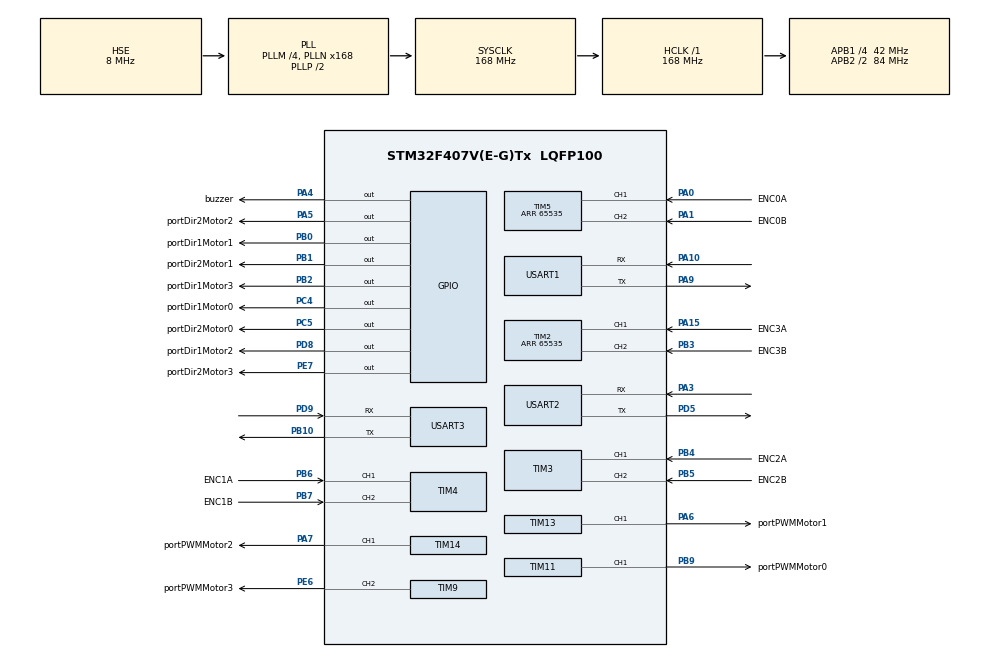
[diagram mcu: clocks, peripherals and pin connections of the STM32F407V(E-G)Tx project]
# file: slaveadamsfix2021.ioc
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Dma.Request0=USART1_RX
Dma.Request1=USART1_TX
Dma.Request2=USART2_RX
Dma.Request3=USART2_TX
Dma.Request4=USART3_RX
Dma.Request5=USART3_TX
Dma.USART1_RX.0.Direction=DMA_PERIPH_TO_MEMORY
Dma.USART1_RX.0.FIFOMode=DMA_FIFOMODE_DISABLE
Dma.USART1_RX.0.Instance=DMA2_Stream2
Dma.USART1_RX.0.MemDataAlignment=DMA_MDATAALIGN_BYTE
Dma.USART1_RX.0.MemInc=DMA_MINC_ENABLE
Dma.USART1_RX.0.Mode=DMA_CIRCULAR
Dma.USART1_RX.0.PeriphDataAlignment=DMA_PDATAALIGN_BYTE
Dma.USART1_RX.0.PeriphInc=DMA_PINC_DISABLE
Dma.USART1_RX.0.Priority=DMA_PRIORITY_LOW
Dma.USART1_TX.1.Direction=DMA_MEMORY_TO_PERIPH
Dma.USART1_TX.1.FIFOMode=DMA_FIFOMODE_DISABLE
Dma.USART1_TX.1.Instance=DMA2_Stream7
Dma.USART1_TX.1.MemDataAlignment=DMA_MDATAALIGN_BYTE
Dma.USART1_TX.1.MemInc=DMA_MINC_ENABLE
Dma.USART1_TX.1.Mode=DMA_CIRCULAR
Dma.USART1_TX.1.PeriphDataAlignment=DMA_PDATAALIGN_BYTE
Dma.USART1_TX.1.PeriphInc=DMA_PINC_DISABLE
Dma.USART1_TX.1.Priority=DMA_PRIORITY_LOW
Dma.USART2_RX.2.Direction=DMA_PERIPH_TO_MEMORY
Dma.USART2_RX.2.FIFOMode=DMA_FIFOMODE_DISABLE
Dma.USART2_RX.2.Instance=DMA1_Stream5
Dma.USART2_RX.2.MemDataAlignment=DMA_MDATAALIGN_BYTE
Dma.USART2_RX.2.MemInc=DMA_MINC_ENABLE
Dma.USART2_RX.2.Mode=DMA_NORMAL
Dma.USART2_RX.2.PeriphDataAlignment=DMA_PDATAALIGN_BYTE
Dma.USART2_RX.2.PeriphInc=DMA_PINC_DISABLE
Dma.USART2_RX.2.Priority=DMA_PRIORITY_LOW
Dma.USART2_TX.3.Direction=DMA_MEMORY_TO_PERIPH
Dma.USART2_TX.3.FIFOMode=DMA_FIFOMODE_DISABLE
Dma.USART2_TX.3.Instance=DMA1_Stream6
Dma.USART2_TX.3.MemDataAlignment=DMA_MDATAALIGN_BYTE
Dma.USART2_TX.3.MemInc=DMA_MINC_ENABLE
Dma.USART2_TX.3.Mode=DMA_NORMAL
Dma.USART2_TX.3.PeriphDataAlignment=DMA_PDATAALIGN_BYTE
Dma.USART2_TX.3.PeriphInc=DMA_PINC_DISABLE
Dma.USART2_TX.3.Priority=DMA_PRIORITY_LOW
Dma.USART3_RX.4.Direction=DMA_PERIPH_TO_MEMORY
Dma.USART3_RX.4.FIFOMode=DMA_FIFOMODE_DISABLE
Dma.USART3_RX.4.Instance=DMA1_Stream1
Dma.USART3_RX.4.MemDataAlignment=DMA_MDATAALIGN_BYTE
Dma.USART3_RX.4.MemInc=DMA_MINC_ENABLE
Dma.USART3_RX.4.Mode=DMA_CIRCULAR
Dma.USART3_RX.4.PeriphDataAlignment=DMA_PDATAALIGN_BYTE
Dma.USART3_RX.4.PeriphInc=DMA_PINC_DISABLE
Dma.USART3_RX.4.Priority=DMA_PRIORITY_LOW
Dma.USART3_TX.5.Direction=DMA_MEMORY_TO_PERIPH
Dma.USART3_TX.5.FIFOMode=DMA_FIFOMODE_DISABLE
Dma.USART3_TX.5.Instance=DMA1_Stream3
Dma.USART3_TX.5.MemDataAlignment=DMA_MDATAALIGN_BYTE
Dma.USART3_TX.5.MemInc=DMA_MINC_ENABLE
Dma.USART3_TX.5.Mode=DMA_CIRCULAR
Dma.USART3_TX.5.PeriphDataAlignment=DMA_PDATAALIGN_BYTE
Dma.USART3_TX.5.PeriphInc=DMA_PINC_DISABLE
Dma.USART3_TX.5.Priority=DMA_PRIORITY_LOW
Mcu.Family=STM32F4
Mcu.Name=STM32F407V(E-G)Tx
Mcu.Package=LQFP100
NVIC.DMA1_Stream1_IRQn=true\:0\:0\:false\:false\:true\:false\:true
NVIC.DMA1_Stream3_IRQn=true\:0\:0\:false\:false\:true\:false\:true
NVIC.DMA1_Stream5_IRQn=true\:0\:0\:false\:false\:true\:false\:true
NVIC.DMA1_Stream6_IRQn=true\:0\:0\:false\:false\:true\:false\:true
NVIC.DMA2_Stream2_IRQn=true\:0\:0\:false\:false\:true\:false\:true
NVIC.DMA2_Stream7_IRQn=true\:0\:0\:false\:false\:true\:false\:true
NVIC.PriorityGroup=NVIC_PRIORITYGROUP_4
NVIC.TIM6_DAC_IRQn=true\:0\:0\:false\:false\:true\:true\:true
NVIC.TIM7_IRQn=true\:0\:0\:false\:false\:true\:true\:true
NVIC.USART1_IRQn=true\:0\:0\:false\:false\:true\:true\:true
NVIC.USART3_IRQn=true\:0\:0\:false\:false\:true\:true\:true
PA0-WKUP.GPIO_Label=ENC0A
PA0-WKUP.GPIO_PuPd=GPIO_PULLUP
PA0-WKUP.GPIO_Speed=GPIO_SPEED_FREQ_VERY_HIGH
PA0-WKUP.Signal=S_TIM5_CH1
PA1.GPIO_Label=ENC0B
PA1.GPIO_PuPd=GPIO_PULLUP
PA1.GPIO_Speed=GPIO_SPEED_FREQ_VERY_HIGH
PA1.Signal=S_TIM5_CH2
PA10.Mode=Asynchronous
PA10.Signal=USART1_RX
PA15.GPIO_Label=ENC3A
PA15.GPIO_PuPd=GPIO_PULLUP
PA15.GPIO_Speed=GPIO_SPEED_FREQ_VERY_HIGH
PA15.Signal=S_TIM2_CH1_ETR
PA3.Mode=Asynchronous
PA3.Signal=USART2_RX
PA4.GPIO_Label=buzzer
PA4.Signal=GPIO_Output
PA5.GPIO_Label=portDir2Motor2
PA5.Signal=GPIO_Output
PA6.GPIO_Label=portPWMMotor1
PA6.Signal=S_TIM13_CH1
PA7.GPIO_Label=portPWMMotor2
PA7.Signal=S_TIM14_CH1
PA9.Mode=Asynchronous
PA9.Signal=USART1_TX
PB0.GPIO_Label=portDir1Motor1
PB0.Signal=GPIO_Output
PB1.GPIO_Label=portDir2Motor1
PB1.Signal=GPIO_Output
PB10.Mode=Asynchronous
PB10.Signal=USART3_TX
PB2.GPIO_Label=portDir1Motor3
PB2.Signal=GPIO_Output
PB3.GPIO_Label=ENC3B
PB3.GPIO_PuPd=GPIO_PULLUP
PB3.GPIO_Speed=GPIO_SPEED_FREQ_VERY_HIGH
PB3.Signal=S_TIM2_CH2
PB4.GPIO_Label=ENC2A
PB4.GPIO_PuPd=GPIO_PULLUP
PB4.GPIO_Speed=GPIO_SPEED_FREQ_VERY_HIGH
PB4.Signal=S_TIM3_CH1
PB5.GPIO_Label=ENC2B
PB5.GPIO_PuPd=GPIO_PULLUP
PB5.GPIO_Speed=GPIO_SPEED_FREQ_VERY_HIGH
PB5.Signal=S_TIM3_CH2
PB6.GPIO_Label=ENC1A
PB6.GPIO_PuPd=GPIO_PULLUP
PB6.GPIO_Speed=GPIO_SPEED_FREQ_VERY_HIGH
PB6.Signal=S_TIM4_CH1
PB7.GPIO_Label=ENC1B
PB7.GPIO_PuPd=GPIO_PULLUP
PB7.GPIO_Speed=GPIO_SPEED_FREQ_VERY_HIGH
PB7.Signal=S_TIM4_CH2
PB9.GPIO_Label=portPWMMotor0
PB9.Signal=S_TIM11_CH1
PC4.GPIO_Label=portDir1Motor0
PC4.Signal=GPIO_Output
PC5.GPIO_Label=portDir2Motor0
PC5.Signal=GPIO_Output
PD5.Mode=Asynchronous
PD5.Signal=USART2_TX
PD8.GPIO_Label=portDir1Motor2
PD8.Signal=GPIO_Output
PD9.Mode=Asynchronous
PD9.Signal=USART3_RX
PE6.GPIO_Label=portPWMMotor3
PE6.Signal=S_TIM9_CH2
PE7.GPIO_Label=portDir2Motor3
PE7.Signal=GPIO_Output
PH0-OSC_IN.Mode=HSE-External-Oscillator
PH0-OSC_IN.Signal=RCC_OSC_IN
PH1-OSC_OUT.Mode=HSE-External-Oscillator
PH1-OSC_OUT.Signal=RCC_OSC_OUT
ProjectManager.HeapSize=0x200
ProjectManager.StackSize=0x400
ProjectManager.TargetToolchain=STM32CubeIDE
RCC.48MHZClocksFreq_Value=84000000
RCC.AHBFreq_Value=168000000
RCC.APB1CLKDivider=RCC_HCLK_DIV4
RCC.APB1Freq_Value=42000000
RCC.APB1TimFreq_Value=84000000
RCC.APB2CLKDivider=RCC_HCLK_DIV2
RCC.APB2Freq_Value=84000000
RCC.APB2TimFreq_Value=168000000
RCC.CortexFreq_Value=168000000
RCC.HCLKFreq_Value=168000000
RCC.HSE_VALUE=8000000
RCC.HSI_VALUE=16000000
RCC.LSE_VALUE=32768
RCC.PLLM=4
RCC.PLLN=168
RCC.PLLSourceVirtual=RCC_PLLSOURCE_HSE
RCC.SYSCLKFreq_VALUE=168000000
RCC.SYSCLKSource=RCC_SYSCLKSOURCE_PLLCLK
RCC.VCOOutputFreq_Value=336000000
SH.S_TIM11_CH1.0=TIM11_CH1,PWM Generation1 CH1
SH.S_TIM13_CH1.0=TIM13_CH1,PWM Generation1 CH1
SH.S_TIM14_CH1.0=TIM14_CH1,PWM Generation1 CH1
SH.S_TIM2_CH1_ETR.0=TIM2_CH1,Encoder_Interface
SH.S_TIM2_CH2.0=TIM2_CH2,Encoder_Interface
SH.S_TIM3_CH1.0=TIM3_CH1,Encoder_Interface
SH.S_TIM3_CH2.0=TIM3_CH2,Encoder_Interface
SH.S_TIM4_CH1.0=TIM4_CH1,Encoder_Interface
SH.S_TIM4_CH2.0=TIM4_CH2,Encoder_Interface
SH.S_TIM5_CH1.0=TIM5_CH1,Encoder_Interface
SH.S_TIM5_CH2.0=TIM5_CH2,Encoder_Interface
SH.S_TIM9_CH2.0=TIM9_CH2,PWM Generation2 CH2
TIM11.Channel=TIM_CHANNEL_1
TIM11.Period=499
TIM11.Prescaler=34
TIM13.Channel=TIM_CHANNEL_1
TIM13.Period=499
TIM13.Prescaler=167
TIM14.Channel=TIM_CHANNEL_1
TIM14.Period=499
TIM14.Prescaler=167
TIM2.EncoderMode=TIM_ENCODERMODE_TI12
TIM2.Period=65535
TIM3.EncoderMode=TIM_ENCODERMODE_TI12
TIM4.EncoderMode=TIM_ENCODERMODE_TI12
TIM5.EncoderMode=TIM_ENCODERMODE_TI12
TIM5.Period=65535
TIM6.Period=999
TIM6.Prescaler=1679
TIM7.Period=999
TIM7.Prescaler=83
TIM9.Channel-PWM\ Generation2\ CH2=TIM_CHANNEL_2
TIM9.Period=499
TIM9.Prescaler=167
USART1.VirtualMode=VM_ASYNC
USART2.VirtualMode=VM_ASYNC
USART3.VirtualMode=VM_ASYNC
VP_TIM11_VS_ClockSourceINT.Mode=Enable_Timer
VP_TIM13_VS_ClockSourceINT.Mode=Enable_Timer
VP_TIM14_VS_ClockSourceINT.Mode=Enable_Timer
VP_TIM6_VS_ClockSourceINT.Mode=Enable_Timer
VP_TIM7_VS_ClockSourceINT.Mode=Enable_Timer
board=custom

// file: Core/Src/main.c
/* USER CODE BEGIN Header */
/**
  ******************************************************************************
  * @file           : main.c
  * @brief          : Main program body
  ******************************************************************************
  * @attention
  *
  * <h2><center>&copy; Copyright (c) 2022 STMicroelectronics.
  * All rights reserved.</center></h2>
  *
  * This software component is licensed by ST under BSD 3-Clause license,
  * the "License"; You may not use this file except in compliance with the
  * License. You may obtain a copy of the License at:
  *                        opensource.org/licenses/BSD-3-Clause
  *
  ******************************************************************************
  */
/* USER CODE END Header */
#include "main.h"
#include "dma.h"
#include "tim.h"
#include "usart.h"
#include "gpio.h"

/* USER CODE BEGIN Includes */
#include "stm32f407xx.h"
#include "motor_omni.h"
/* USER CODE END Includes */

/* USER CODE BEGIN PV */
short int globalSpeedOut[3];
short int enc_omni[4];
short int kineMatrix;
short int motor_speed_target[4];
short int print_outputPWM[4];
short int Motor_Omni_PWM[4];
short int coba_motor[4];
short int counter, counter2, counter3;

short counter;
short int speed_x;
short int speed_y;
short int speed_z;
char kirimMaster[5] = {'i','t','s'};
char terimaMaster[31];
char uart1_data, uart1_status, uart1_terima;
extern DMA_HandleTypeDef hdma_usart1_rx;
/* USER CODE END PV */

void SystemClock_Config(void);

int main(void)
{

  /* MCU Configuration--------------------------------------------------------*/

  /* Reset of all peripherals, Initializes the Flash interface and the Systick. */
  HAL_Init();

  /* Configure the system clock */
  SystemClock_Config();

  /* Initialize all configured peripherals */
  MX_GPIO_Init();
  MX_TIM11_Init();
  MX_TIM13_Init();
  MX_TIM14_Init();
  MX_TIM9_Init();
  MX_TIM4_Init();
  MX_TIM5_Init();
  MX_TIM3_Init();
  MX_TIM2_Init();
  MX_DMA_Init();
  MX_USART1_UART_Init();
  MX_TIM6_Init();
  MX_USART2_UART_Init();
  MX_USART3_UART_Init();
  MX_TIM7_Init();
  /* USER CODE BEGIN 2 */
  HAL_TIM_Base_Start_IT(&htim6);
  HAL_TIM_Base_Start_IT(&htim7);

  HAL_TIM_Encoder_Start(&htim2, TIM_CHANNEL_ALL);
  HAL_TIM_Encoder_Start(&htim3, TIM_CHANNEL_ALL);
  HAL_TIM_Encoder_Start(&htim4, TIM_CHANNEL_ALL);
  HAL_TIM_Encoder_Start(&htim5, TIM_CHANNEL_ALL);

   //PWM START
  HAL_TIM_PWM_Start(&htim9, TIM_CHANNEL_2);
  HAL_TIM_PWM_Start(&htim11, TIM_CHANNEL_1);
  HAL_TIM_PWM_Start(&htim13, TIM_CHANNEL_1);
  HAL_TIM_PWM_Start(&htim14, TIM_CHANNEL_1);

  HAL_UART_Receive_DMA(&huart1, (uint8_t*) terimaMaster,31);
//  __HAL_UART_ENABLE_IT(&huart3, UART_IT_RXNE);
  /* USER CODE END 2 */

  /* Infinite loop */
  /* USER CODE BEGIN WHILE */

  while (1)
  {
	  BuzzerBuzz(40, 20);

	 //	  HAL_UART_Transmit_DMA(&huart2, (uint8_t*) kirimMaster, 31);

	 	  //turunan encoder omni

//	  enc_omni[0] = TIM5->CNT;
//	  enc_omni[1] = TIM4->CNT;
//	  enc_omni[2] = TIM3->CNT;
//	  enc_omni[3] = TIM2->CNT;
//
//	  TIM5->CNT = 0;
//	  TIM4->CNT = 0;
//	  TIM3->CNT = 0;
//	  TIM2->CNT = 0;
//	  MotorWheelsSP(motor_speed_target, globalSpeedOut);
//	////
//	  motor_omni_kontrol(Motor_Omni_PWM, motor_speed_target, enc_omni);
//  motor_omni_set_pwm(coba_motor);
//  counter++;
    /* USER CODE END WHILE */

  }
}

void SystemClock_Config(void)
{
  RCC_OscInitTypeDef RCC_OscInitStruct = {0};
  RCC_ClkInitTypeDef RCC_ClkInitStruct = {0};

  /** Configure the main internal regulator output voltage
  */
  __HAL_RCC_PWR_CLK_ENABLE();
  __HAL_PWR_VOLTAGESCALING_CONFIG(PWR_REGULATOR_VOLTAGE_SCALE1);
  /** Initializes the RCC Oscillators according to the specified parameters
  * in the RCC_OscInitTypeDef structure.
  */
  RCC_OscInitStruct.OscillatorType = RCC_OSCILLATORTYPE_HSE;
  RCC_OscInitStruct.HSEState = RCC_HSE_ON;
  RCC_OscInitStruct.PLL.PLLState = RCC_PLL_ON;
  RCC_OscInitStruct.PLL.PLLSource = RCC_PLLSOURCE_HSE;
  RCC_OscInitStruct.PLL.PLLM = 4;
  RCC_OscInitStruct.PLL.PLLN = 168;
  RCC_OscInitStruct.PLL.PLLP = RCC_PLLP_DIV2;
  RCC_OscInitStruct.PLL.PLLQ = 4;
  if (HAL_RCC_OscConfig(&RCC_OscInitStruct) != HAL_OK)
  {
    Error_Handler();
  }
  /** Initializes the CPU, AHB and APB buses clocks
  */
  RCC_ClkInitStruct.ClockType = RCC_CLOCKTYPE_HCLK|RCC_CLOCKTYPE_SYSCLK
                              |RCC_CLOCKTYPE_PCLK1|RCC_CLOCKTYPE_PCLK2;
  RCC_ClkInitStruct.SYSCLKSource = RCC_SYSCLKSOURCE_PLLCLK;
  RCC_ClkInitStruct.AHBCLKDivider = RCC_SYSCLK_DIV1;
  RCC_ClkInitStruct.APB1CLKDivider = RCC_HCLK_DIV4;
  RCC_ClkInitStruct.APB2CLKDivider = RCC_HCLK_DIV2;

  if (HAL_RCC_ClockConfig(&RCC_ClkInitStruct, FLASH_LATENCY_5) != HAL_OK)
  {
    Error_Handler();
  }
}

/* USER CODE BEGIN 4 */

void HAL_UART_RxHalfCpltCallback(UART_HandleTypeDef *huart){
	if(huart->Instance == USART1){
		if((terimaMaster[0] == 'i' && terimaMaster[1] == 't' && terimaMaster[2] == 's')==0){
//			memcpy(&counter, terimaMaster+3,2);
			HAL_DMA_Abort(&hdma_usart1_rx);
		    HAL_UART_Receive_DMA(&huart1, (uint8_t*) terimaMaster,31);

			counter3++;
		}
//		else {
//			 HAL_UART_Receive_DMA(&huart3, (uint8_t*) terimaMaster,31);
//		}

	}

}

void HAL_UART_RxCpltCallback(UART_HandleTypeDef *huart){
	if(huart->Instance == USART1){
		if((terimaMaster[0] == 'i' && terimaMaster[1] == 't' && terimaMaster[2] == 's')==1){
//			memcpy(&counter, terimaMaster+3,2);
			  memcpy(&globalSpeedOut[0], terimaMaster+3, 2);
			  memcpy(&globalSpeedOut[1], terimaMaster +5, 2);
		      memcpy(&globalSpeedOut[2], terimaMaster +7, 2);
		      counter2++;
		}

	}

}

void HAL_UART_ErrorCallback(UART_HandleTypeDef *huart)
{
	HAL_UART_Receive_DMA(&huart1, (uint8_t*) terimaMaster,31);
	//HAL_UART_Transmit(&huart1, (uint8_t*) kirimSlave, 31,100);
}

/* USER CODE END 4 */

void Error_Handler(void)
{
  __disable_irq();
  while (1)
  {
  }
}

/************************ (C) COPYRIGHT STMicroelectronics *****END OF FILE****/
